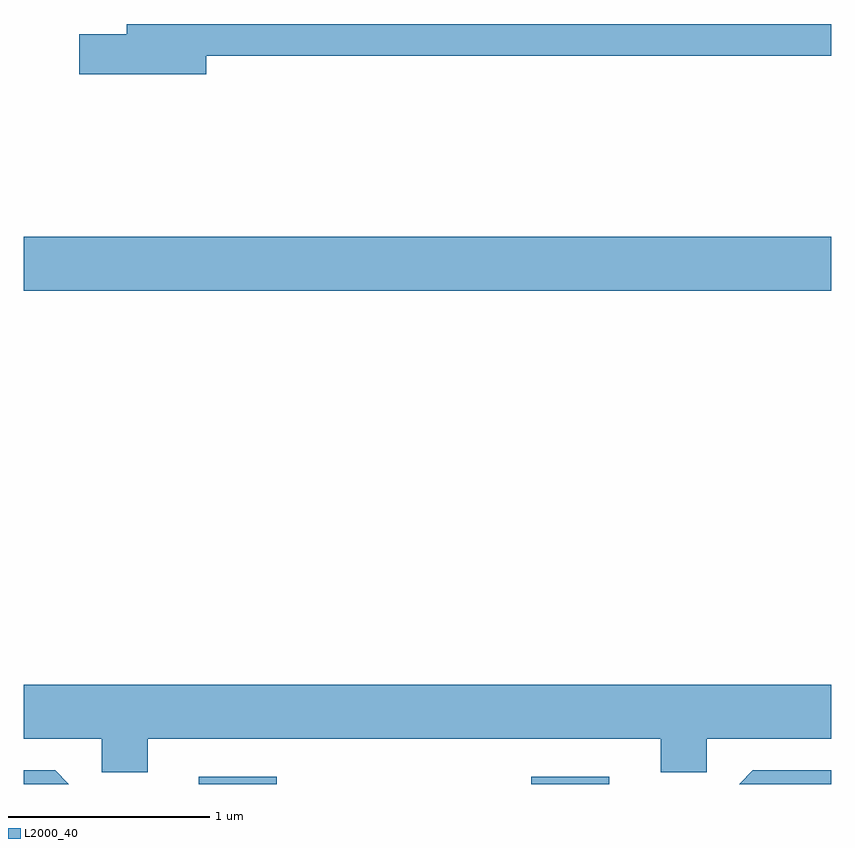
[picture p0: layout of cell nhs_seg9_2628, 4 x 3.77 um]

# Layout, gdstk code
import gdstk
lib = gdstk.Library(unit=1e-6, precision=1e-09)
def R(c, l, rs):  # rectangles x0, y0, x1, y1
    for r in rs: c.add(gdstk.rectangle(r[:2], r[2:], *l))
def P(c, l, *ps):  # polygons
    for p in ps: c.add(gdstk.Polygon(p, *l))
L2000_40 = (2000, 40)

nhs_seg9_2628 = lib.new_cell('nhs_seg9_2628')
R(nhs_seg9_2628, L2000_40, [(262.478,2040.432,262.864,2040.469), (264.126,2040.432,264.513,2040.469), (261.611,2042.876,265.611,2043.144)])
P(nhs_seg9_2628, L2000_40, [(262.514,2044.041),(265.611,2044.041),(265.611,2044.199),(262.121,2044.199),(262.121,2044.149),(261.886,2044.149),(261.886,2043.951),(262.514,2043.951)],
  [(262.224,2040.656),(264.766,2040.656),(264.766,2040.491),(264.994,2040.491),(264.994,2040.656),(265.611,2040.656),(265.611,2040.924),(261.611,2040.924),(261.611,2040.656),(261.996,2040.656),(261.996,2040.491),(262.224,2040.491)],
  [(265.611,2040.499),(265.224,2040.499),(265.157,2040.432),(265.611,2040.432)],
  [(261.767,2040.499),(261.611,2040.499),(261.611,2040.432),(261.834,2040.432)])

lib.write_gds('nhs_seg9_2628.gds')
